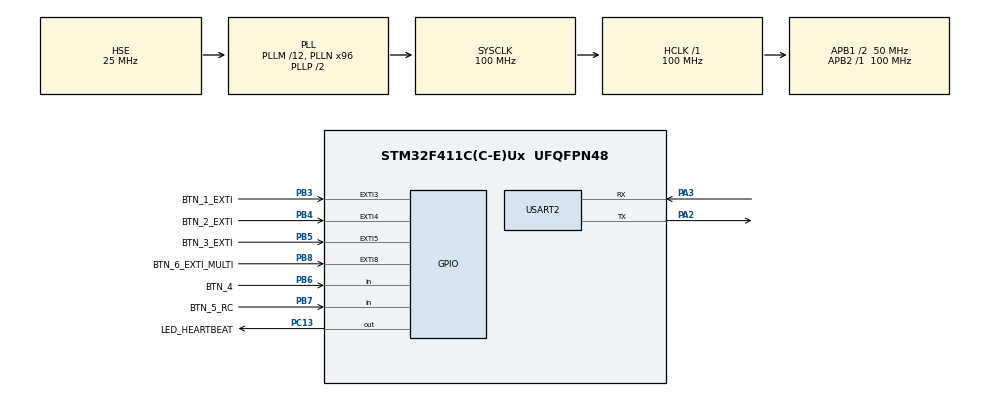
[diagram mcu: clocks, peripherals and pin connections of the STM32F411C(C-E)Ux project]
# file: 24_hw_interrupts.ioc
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Dma.Request0=USART2_TX
Dma.USART2_TX.0.Direction=DMA_MEMORY_TO_PERIPH
Dma.USART2_TX.0.FIFOMode=DMA_FIFOMODE_DISABLE
Dma.USART2_TX.0.Instance=DMA1_Stream6
Dma.USART2_TX.0.MemDataAlignment=DMA_MDATAALIGN_BYTE
Dma.USART2_TX.0.MemInc=DMA_MINC_ENABLE
Dma.USART2_TX.0.Mode=DMA_NORMAL
Dma.USART2_TX.0.PeriphDataAlignment=DMA_PDATAALIGN_BYTE
Dma.USART2_TX.0.PeriphInc=DMA_PINC_DISABLE
Dma.USART2_TX.0.Priority=DMA_PRIORITY_LOW
Mcu.Family=STM32F4
Mcu.Name=STM32F411C(C-E)Ux
Mcu.Package=UFQFPN48
NVIC.DMA1_Stream6_IRQn=true\:0\:0\:false\:false\:true\:false\:true\:true
NVIC.EXTI3_IRQn=true\:0\:0\:false\:false\:true\:true\:true\:true
NVIC.EXTI4_IRQn=true\:0\:0\:false\:false\:true\:true\:true\:true
NVIC.EXTI9_5_IRQn=true\:0\:0\:false\:false\:true\:true\:true\:true
NVIC.PriorityGroup=NVIC_PRIORITYGROUP_4
NVIC.TIM2_IRQn=true\:0\:0\:false\:false\:true\:true\:true\:true
NVIC.USART2_IRQn=true\:0\:0\:false\:false\:true\:true\:true\:true
PA13.Mode=Serial_Wire
PA13.Signal=SYS_JTMS-SWDIO
PA14.Mode=Serial_Wire
PA14.Signal=SYS_JTCK-SWCLK
PA2.Mode=Asynchronous
PA2.Signal=USART2_TX
PA3.Mode=Asynchronous
PA3.Signal=USART2_RX
PB3.GPIO_Label=BTN_1_EXTI
PB3.GPIO_ModeDefaultEXTI=GPIO_MODE_IT_FALLING
PB3.GPIO_PuPd=GPIO_PULLUP
PB3.Signal=GPXTI3
PB4.GPIO_Label=BTN_2_EXTI
PB4.GPIO_ModeDefaultEXTI=GPIO_MODE_IT_FALLING
PB4.GPIO_PuPd=GPIO_PULLUP
PB4.Signal=GPXTI4
PB5.GPIO_Label=BTN_3_EXTI
PB5.GPIO_ModeDefaultEXTI=GPIO_MODE_IT_FALLING
PB5.GPIO_PuPd=GPIO_PULLUP
PB5.Signal=GPXTI5
PB6.GPIO_Label=BTN_4
PB6.GPIO_PuPd=GPIO_PULLUP
PB6.Signal=GPIO_Input
PB7.GPIO_Label=BTN_5_RC
PB7.GPIO_PuPd=GPIO_PULLUP
PB7.Signal=GPIO_Input
PB8.GPIO_Label=BTN_6_EXTI_MULTI
PB8.GPIO_ModeDefaultEXTI=GPIO_MODE_IT_RISING_FALLING
PB8.GPIO_PuPd=GPIO_PULLUP
PB8.Signal=GPXTI8
PC13-ANTI_TAMP.GPIO_Label=LED_HEARTBEAT
PC13-ANTI_TAMP.Signal=GPIO_Output
PH0\ -\ OSC_IN.Mode=HSE-External-Oscillator
PH0\ -\ OSC_IN.Signal=RCC_OSC_IN
PH1\ -\ OSC_OUT.Mode=HSE-External-Oscillator
PH1\ -\ OSC_OUT.Signal=RCC_OSC_OUT
ProjectManager.HeapSize=0x200
ProjectManager.StackSize=0x400
ProjectManager.TargetToolchain=STM32CubeIDE
RCC.48MHZClocksFreq_Value=50000000
RCC.AHBFreq_Value=100000000
RCC.APB1CLKDivider=RCC_HCLK_DIV2
RCC.APB1Freq_Value=50000000
RCC.APB1TimFreq_Value=100000000
RCC.APB2Freq_Value=100000000
RCC.APB2TimFreq_Value=100000000
RCC.CortexFreq_Value=100000000
RCC.HCLKFreq_Value=100000000
RCC.HSE_VALUE=25000000
RCC.HSI_VALUE=16000000
RCC.LSE_VALUE=32768
RCC.PLLM=12
RCC.PLLN=96
RCC.PLLSourceVirtual=RCC_PLLSOURCE_HSE
RCC.SYSCLKFreq_VALUE=100000000
RCC.SYSCLKSource=RCC_SYSCLKSOURCE_PLLCLK
RCC.VCOOutputFreq_Value=200000000
TIM2.Period=4999
TIM2.Prescaler=999
USART2.VirtualMode=VM_ASYNC
VP_TIM2_VS_ClockSourceINT.Mode=Internal
board=custom

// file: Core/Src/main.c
/* USER CODE BEGIN Header */
/**
 ******************************************************************************
 * @file           : main.c
 * @brief          : Main program body
 ******************************************************************************
 * @attention
 *
 * Copyright (c) 2026 STMicroelectronics.
 * All rights reserved.
 *
 * This software is licensed under terms that can be found in the LICENSE file
 * in the root directory of this software component.
 * If no LICENSE file comes with this software, it is provided AS-IS.
 *
 ******************************************************************************
 */
/* USER CODE END Header */
#include "main.h"

/* USER CODE BEGIN Includes */
#include <stdarg.h>
#include <stdio.h>

/* USER CODE END Includes */

/* USER CODE BEGIN PTD */
typedef struct
{
    GPIO_TypeDef *port;
    uint16_t pin;
    uint32_t half_period;
    uint32_t last_update_timestamp;
} Led;

typedef enum
{
    BUTTON_EVENT_HANDLED = 0u,
    BUTTON_EVENT_PENDING,
    BUTTON_EVENT_SHORT_PENDING,
    BUTTON_EVENT_LONG_PENDING,
    BUTTON_EVENT_DOUBLE_PENDING,
} Button_Event;

typedef enum
{
    BUTTON_STATE_IDLE = 0u,
    BUTTON_STATE_PRESSED,
    BUTTON_STATE_HELD,
    BUTTON_STATE_RELEASED,
} Button_State;

typedef struct
{
    GPIO_TypeDef *port;
    uint16_t pin;
    uint32_t press_count;
    uint8_t raw;
    uint8_t stable;
    uint8_t in_debounce;
    Button_Event event;
    uint32_t last_read_timestamp;
    Button_State state;

    // btn_6 -- multiclick
    uint8_t is_double;
    uint32_t is_double_timestamp;
    uint32_t fall_timestamp;
    uint32_t rise_timestamp;
} Button;

/* USER CODE END PTD */

/* USER CODE BEGIN PD */
#define BUTTON_PRESS_DOUBLE_DURATION_MS 350u
#define BUTTON_PRESS_SHORT_DURATION_MS 1000u
#define BUTTON_PRESS_LONG_DURATION_MS 2000u
/* USER CODE END PD */

TIM_HandleTypeDef htim2;

UART_HandleTypeDef huart2;
DMA_HandleTypeDef hdma_usart2_tx;

/* USER CODE BEGIN PV */
static uint32_t now = 0u;

static Led heartbeat = {
	.port = LED_HEARTBEAT_GPIO_Port,
	.pin = LED_HEARTBEAT_Pin,
	.half_period = 1000u,
    .last_update_timestamp = 0u
};

// no debounce
static volatile Button btn_1_exti = {
	.port = BTN_1_EXTI_GPIO_Port,
	.pin = BTN_1_EXTI_Pin,
	.press_count = 0u
};

// 50ms debounce via timer
static volatile Button btn_2_exti = {
	.port = BTN_2_EXTI_GPIO_Port,
	.pin = BTN_2_EXTI_Pin,
	.in_debounce = 0u,
	.raw = 0u,
	.stable = 0u
};

// event/state based debounce
static volatile Button btn_3_exti = {
	.port = BTN_3_EXTI_GPIO_Port,
	.pin = BTN_3_EXTI_Pin,
	.press_count = 0u,
	.event = BUTTON_EVENT_HANDLED,
};

// polling + debounce
static Button btn_4 = {
	.port = BTN_4_GPIO_Port,
	.pin = BTN_4_Pin,
	.press_count = 0u,
	.last_read_timestamp = 0u,
	.raw = 0u,
	.state = BUTTON_STATE_IDLE,
};

static Button btn_5_rc = {
	.port = BTN_5_RC_GPIO_Port,
	.pin = BTN_5_RC_Pin,
	.press_count = 0u,
	.in_debounce = 0u,
	.raw = 0u,
}
;
static volatile Button btn_6_exti_multi = {
	.port = BTN_6_EXTI_MULTI_GPIO_Port,
	.pin = BTN_6_EXTI_MULTI_Pin,
	.in_debounce = 0u,
	.raw = 0u,
	.stable = 0u,
	.event = BUTTON_EVENT_HANDLED,
	.state = BUTTON_STATE_IDLE,
};

/* USER CODE END PV */

void SystemClock_Config(void);
static void MX_GPIO_Init(void);
static void MX_DMA_Init(void);
static void MX_TIM2_Init(void);
static void MX_USART2_UART_Init(void);

/* USER CODE BEGIN 0 */
void Log_Write(UART_HandleTypeDef *huart, const char *fmt, ...)
{
    assert_param(huart != NULL);
    assert_param(fmt != NULL);
    assert_param(strlen(fmt) < 256);

    uint32_t now = HAL_GetTick();
    char buffer[256] = { 0 };

    uint32_t pos = sprintf(buffer, "[%u] ", now);

    va_list args;
    va_start(args, fmt);
    pos += vsprintf(buffer + pos, fmt, args);
    va_end(args);

    buffer[pos++] = '\r';
    buffer[pos++] = '\n';
    buffer[pos++] = '\0';

    HAL_UART_Transmit(huart, (uint8_t *)buffer, pos, 100);
}

void Led_Heartbeat(const uint32_t now)
{
    if ((uint32_t)(now - heartbeat.last_update_timestamp) >= heartbeat.half_period)
    {
        HAL_GPIO_TogglePin(heartbeat.port, heartbeat.pin);
        heartbeat.last_update_timestamp = now;
    }
}

const char *Button_State_To_String(const Button_State state)
{
    switch (state)
    {
    case BUTTON_STATE_IDLE:
        return "BUTTON_STATE_IDLE";
    case BUTTON_STATE_PRESSED:
        return "BUTTON_STATE_PRESSED";
    case BUTTON_STATE_HELD:
        return "BUTTON_STATE_HELD";
    case BUTTON_STATE_RELEASED:
        return "BUTTON_STATE_RELEASED";
    default:
        return "Non existent state";
    }
}

const char *Button_Event_To_String(const Button_Event event)
{
    switch (event)
    {
    case BUTTON_EVENT_HANDLED:
        return "BUTTON_EVENT_HANDLED";
    case BUTTON_EVENT_PENDING:
        return "BUTTON_EVENT_PENDING";
    case BUTTON_EVENT_SHORT_PENDING:
        return "BUTTON_EVENT_SHORT_PENDING";
    case BUTTON_EVENT_LONG_PENDING:
        return "BUTTON_EVENT_LONG_PENDING";
    case BUTTON_EVENT_DOUBLE_PENDING:
        return "BUTTON_EVENT_DOUBLE_PENDING";
    default:
        return "Non existent event";
    }
}

void Button_3_Process_Event(volatile Button *btn)
{
    if (btn->event == BUTTON_EVENT_PENDING)
    {
        btn->press_count++;
        btn->event = BUTTON_EVENT_HANDLED;
    }
}

void HAL_GPIO_EXTI_Callback(uint16_t GPIO_Pin)
{
    switch (GPIO_Pin)
    {
    case BTN_1_EXTI_Pin:
        // do nothing
        btn_1_exti.press_count++;
        break;
    case BTN_2_EXTI_Pin:
        btn_2_exti.raw = (HAL_GPIO_ReadPin(btn_2_exti.port, btn_2_exti.pin) == GPIO_PIN_RESET);
        btn_2_exti.in_debounce = 1u;
        break;
    case BTN_3_EXTI_Pin:
        if (btn_3_exti.event == BUTTON_EVENT_HANDLED)
        {
            btn_3_exti.event = BUTTON_EVENT_PENDING;
        }
        break;
    case BTN_6_EXTI_MULTI_Pin:
        btn_6_exti_multi.raw = (HAL_GPIO_ReadPin(btn_6_exti_multi.port, btn_6_exti_multi.pin) == GPIO_PIN_RESET);
        btn_6_exti_multi.in_debounce = 1u;
        break;
    }
}

static void Button_Timer_Debounce(volatile Button *btn)
{
    const uint8_t raw = (HAL_GPIO_ReadPin(btn->port, btn->pin) == GPIO_PIN_RESET);
    if ((btn->in_debounce == 1u) && (raw == btn->raw))
    {
        btn->stable = raw;
        btn->press_count++;
    }
    btn->in_debounce = 0u;
}

void HAL_TIM_PeriodElapsedCallback(TIM_HandleTypeDef *htim)
{
    if (htim->Instance == TIM2)
    {
        Button_Timer_Debounce(&btn_2_exti);
        Button_Timer_Debounce(&btn_6_exti_multi);
    }
}

void Button_6_EXTI_Multi_Handle(volatile Button *btn, const uint32_t now)
{
    if (btn->event != BUTTON_EVENT_HANDLED)
        return;

    switch (btn->state)
    {
    case BUTTON_STATE_IDLE:
        if (btn->stable == 1u)
        {
            btn->state = BUTTON_STATE_PRESSED;
            btn->fall_timestamp = now;
        }

        // short button event is deferred in case of double click
        if (btn->is_double == 1u)
        {
            if ((uint32_t)(now - btn->is_double_timestamp) >= BUTTON_PRESS_DOUBLE_DURATION_MS)
            {
                btn->event = BUTTON_EVENT_SHORT_PENDING;
                btn->is_double = 0u;
            }
        }
        break;
    case BUTTON_STATE_PRESSED:
    case BUTTON_STATE_HELD:
        if (btn->stable == 1u)
        {
            btn->state = BUTTON_STATE_HELD;
        }
        else
        {
            btn->state = BUTTON_STATE_RELEASED;
        }
        break;
    case BUTTON_STATE_RELEASED:
        btn->state = BUTTON_STATE_IDLE;
        btn->rise_timestamp = now;

        const uint32_t time_diff = (uint32_t)(btn->rise_timestamp - btn->fall_timestamp);
        if (time_diff <= BUTTON_PRESS_SHORT_DURATION_MS)
        {
            if (btn->is_double == 1u)
            {
                btn->event = BUTTON_EVENT_DOUBLE_PENDING;
                btn->is_double = 0u;
            }
            else
            {
                btn->is_double = 1u;
                btn->is_double_timestamp = now;
            }
        }
        else if (time_diff > BUTTON_PRESS_SHORT_DURATION_MS)
        {
            btn->event = BUTTON_EVENT_LONG_PENDING;
        }
        break;
    default:
        break;
    }
}

void Button_4_sm_debouce(Button *btn, const uint32_t now)
{
    if ((uint32_t)(now - btn->last_read_timestamp) >= 10u)
    {
        btn->last_read_timestamp = now;
        btn->raw = (HAL_GPIO_ReadPin(btn->port, btn->pin) == GPIO_PIN_RESET);
        switch (btn->state)
        {
        case BUTTON_STATE_IDLE:
            if (btn->raw == 1u)
            {
                btn->state = BUTTON_STATE_PRESSED;
            }
            break;
        case BUTTON_STATE_PRESSED:
            if (btn->raw == 1u)
            {
                btn->press_count++;
            }
        case BUTTON_STATE_HELD:
            if (btn->raw == 1u)
            {
                btn->state = BUTTON_STATE_HELD;
            }
            else
            {
                btn->state = BUTTON_STATE_IDLE;
            }
            break;
        default:
            break;
        }
    }
}

void Button_5_RC_Read(Button *btn)
{
    btn->raw = (HAL_GPIO_ReadPin(btn->port, btn->pin) == GPIO_PIN_RESET);
    if (btn->raw == 1u)
    {
        if (btn->in_debounce == 0u)
        {
            btn->press_count++;
            btn->in_debounce = 1u;
        }
    }
    else
    {
        btn->in_debounce = 0u;
    }
}

/* USER CODE END 0 */

int main(void)
{

    /* MCU Configuration--------------------------------------------------------*/

    /* Reset of all peripherals, Initializes the Flash interface and the Systick. */
    HAL_Init();

    /* Configure the system clock */
    SystemClock_Config();

    /* Initialize all configured peripherals */
    MX_GPIO_Init();
    MX_DMA_Init();
    MX_TIM2_Init();
    MX_USART2_UART_Init();
    /* USER CODE BEGIN 2 */
    uint32_t last_update = 0u;

    HAL_TIM_Base_Start_IT(&htim2);

    Log_Write(&huart2, "Board started...");
    /* USER CODE END 2 */

    /* Infinite loop */
    /* USER CODE BEGIN WHILE */
    while (1)
    {
        now = HAL_GetTick();
        Led_Heartbeat(now);

        Button_3_Process_Event(&btn_3_exti);
        Button_4_sm_debouce(&btn_4, now);
        Button_5_RC_Read(&btn_5_rc);
        Button_6_EXTI_Multi_Handle(&btn_6_exti_multi, now);

        switch (btn_6_exti_multi.event)
        {
        case BUTTON_EVENT_SHORT_PENDING:
            Log_Write(&huart2,
                      ">>>btn_6_exti_multi: short | press duration: %u | rise: %u | fall: %u\r\n\t"
                      "state: %s | event: %s\r\n",
                      (uint32_t) (btn_6_exti_multi.rise_timestamp - btn_6_exti_multi.fall_timestamp),
                      btn_6_exti_multi.rise_timestamp, btn_6_exti_multi.fall_timestamp,
                      Button_State_To_String(btn_6_exti_multi.state), Button_Event_To_String(btn_6_exti_multi.event));
            btn_6_exti_multi.event = BUTTON_EVENT_HANDLED;
            break;
        case BUTTON_EVENT_LONG_PENDING:
            Log_Write(&huart2,
                      ">>>btn_6_exti_multi: long | press duration: %u | rise: %u | fall: %u\r\n\t"
                      "state: %s | event: %s\r\n",
                      (uint32_t) (btn_6_exti_multi.rise_timestamp - btn_6_exti_multi.fall_timestamp),
                      btn_6_exti_multi.rise_timestamp, btn_6_exti_multi.fall_timestamp,
                      Button_State_To_String(btn_6_exti_multi.state), Button_Event_To_String(btn_6_exti_multi.event));
            btn_6_exti_multi.event = BUTTON_EVENT_HANDLED;
            break;
        case BUTTON_EVENT_DOUBLE_PENDING:
            Log_Write(&huart2,
                      ">>>btn_6_exti_multi: double | press duration: %u | rise: %u | fall: %u\r\n\t"
                      "state: %s | event: %s\r\n",
                      (uint32_t) (btn_6_exti_multi.rise_timestamp - btn_6_exti_multi.fall_timestamp),
                      btn_6_exti_multi.rise_timestamp, btn_6_exti_multi.fall_timestamp,
                      Button_State_To_String(btn_6_exti_multi.state), Button_Event_To_String(btn_6_exti_multi.event));
            btn_6_exti_multi.event = BUTTON_EVENT_HANDLED;
            break;
        case BUTTON_EVENT_PENDING:
        case BUTTON_EVENT_HANDLED:
            break;
        }

        if ((uint32_t) (now - last_update) >= 1000u)
        {
            last_update = now;
            Log_Write(&huart2, "btn_1_exti: raw: %u | stable: %u | in_debounce: %u | press_count: %u",
                      btn_1_exti.raw, btn_1_exti.stable, btn_1_exti.in_debounce, btn_1_exti.press_count);
            Log_Write(&huart2, "btn_2_exti: raw: %u | stable: %u | in_debounce: %u | press_count: %u",
                      btn_2_exti.raw, btn_2_exti.stable, btn_2_exti.in_debounce, btn_2_exti.press_count);
            Log_Write(&huart2, "btn_3_exti: raw: %u | stable: %u | in_debounce: %u | press_count: %u",
                      btn_3_exti.raw, btn_3_exti.stable, btn_3_exti.in_debounce, btn_3_exti.press_count);
            Log_Write(&huart2, "btn_4: raw: %u | stable: %u | in_debounce: %u | press_count: %u",
                      btn_4.raw, btn_4.stable, btn_4.in_debounce, btn_4.press_count);
            Log_Write(&huart2, "btn_5_rc: raw: %u | stable: %u | in_debounce: %u | press_count: %u\r\n",
                      btn_5_rc.raw, btn_5_rc.stable, btn_5_rc.in_debounce, btn_5_rc.press_count);
        }
        /* USER CODE END WHILE */

    }
}

void SystemClock_Config(void)
{
    RCC_OscInitTypeDef RCC_OscInitStruct = { 0 };
    RCC_ClkInitTypeDef RCC_ClkInitStruct = { 0 };

    /** Configure the main internal regulator output voltage
     */
    __HAL_RCC_PWR_CLK_ENABLE();
    __HAL_PWR_VOLTAGESCALING_CONFIG(PWR_REGULATOR_VOLTAGE_SCALE1);

    /** Initializes the RCC Oscillators according to the specified parameters
     * in the RCC_OscInitTypeDef structure.
     */
    RCC_OscInitStruct.OscillatorType = RCC_OSCILLATORTYPE_HSE;
    RCC_OscInitStruct.HSEState = RCC_HSE_ON;
    RCC_OscInitStruct.PLL.PLLState = RCC_PLL_ON;
    RCC_OscInitStruct.PLL.PLLSource = RCC_PLLSOURCE_HSE;
    RCC_OscInitStruct.PLL.PLLM = 12;
    RCC_OscInitStruct.PLL.PLLN = 96;
    RCC_OscInitStruct.PLL.PLLP = RCC_PLLP_DIV2;
    RCC_OscInitStruct.PLL.PLLQ = 4;
    if (HAL_RCC_OscConfig(&RCC_OscInitStruct) != HAL_OK)
    {
        Error_Handler();
    }

    /** Initializes the CPU, AHB and APB buses clocks
     */
    RCC_ClkInitStruct.ClockType = RCC_CLOCKTYPE_HCLK | RCC_CLOCKTYPE_SYSCLK | RCC_CLOCKTYPE_PCLK1 | RCC_CLOCKTYPE_PCLK2;
    RCC_ClkInitStruct.SYSCLKSource = RCC_SYSCLKSOURCE_PLLCLK;
    RCC_ClkInitStruct.AHBCLKDivider = RCC_SYSCLK_DIV1;
    RCC_ClkInitStruct.APB1CLKDivider = RCC_HCLK_DIV2;
    RCC_ClkInitStruct.APB2CLKDivider = RCC_HCLK_DIV1;

    if (HAL_RCC_ClockConfig(&RCC_ClkInitStruct, FLASH_LATENCY_3) != HAL_OK)
    {
        Error_Handler();
    }
}

static void MX_TIM2_Init(void)
{

    TIM_ClockConfigTypeDef sClockSourceConfig = { 0 };
    TIM_MasterConfigTypeDef sMasterConfig = { 0 };

    htim2.Instance = TIM2;
    htim2.Init.Prescaler = 999;
    htim2.Init.CounterMode = TIM_COUNTERMODE_UP;
    htim2.Init.Period = 4999;
    htim2.Init.ClockDivision = TIM_CLOCKDIVISION_DIV1;
    htim2.Init.AutoReloadPreload = TIM_AUTORELOAD_PRELOAD_DISABLE;
    if (HAL_TIM_Base_Init(&htim2) != HAL_OK)
    {
        Error_Handler();
    }
    sClockSourceConfig.ClockSource = TIM_CLOCKSOURCE_INTERNAL;
    if (HAL_TIM_ConfigClockSource(&htim2, &sClockSourceConfig) != HAL_OK)
    {
        Error_Handler();
    }
    sMasterConfig.MasterOutputTrigger = TIM_TRGO_RESET;
    sMasterConfig.MasterSlaveMode = TIM_MASTERSLAVEMODE_DISABLE;
    if (HAL_TIMEx_MasterConfigSynchronization(&htim2, &sMasterConfig) != HAL_OK)
    {
        Error_Handler();
    }

}

static void MX_USART2_UART_Init(void)
{

    huart2.Instance = USART2;
    huart2.Init.BaudRate = 115200;
    huart2.Init.WordLength = UART_WORDLENGTH_8B;
    huart2.Init.StopBits = UART_STOPBITS_1;
    huart2.Init.Parity = UART_PARITY_NONE;
    huart2.Init.Mode = UART_MODE_TX_RX;
    huart2.Init.HwFlowCtl = UART_HWCONTROL_NONE;
    huart2.Init.OverSampling = UART_OVERSAMPLING_16;
    if (HAL_UART_Init(&huart2) != HAL_OK)
    {
        Error_Handler();
    }

}

static void MX_DMA_Init(void)
{

    /* DMA controller clock enable */
    __HAL_RCC_DMA1_CLK_ENABLE();

    /* DMA interrupt init */
    /* DMA1_Stream6_IRQn interrupt configuration */
    HAL_NVIC_SetPriority(DMA1_Stream6_IRQn, 0, 0);
    HAL_NVIC_EnableIRQ(DMA1_Stream6_IRQn);

}

static void MX_GPIO_Init(void)
{
    GPIO_InitTypeDef GPIO_InitStruct = { 0 };

    /* GPIO Ports Clock Enable */
    __HAL_RCC_GPIOC_CLK_ENABLE();
    __HAL_RCC_GPIOH_CLK_ENABLE();
    __HAL_RCC_GPIOA_CLK_ENABLE();
    __HAL_RCC_GPIOB_CLK_ENABLE();

    /*Configure GPIO pin Output Level */
    HAL_GPIO_WritePin(LED_HEARTBEAT_GPIO_Port, LED_HEARTBEAT_Pin, GPIO_PIN_RESET);

    /*Configure GPIO pin : LED_HEARTBEAT_Pin */
    GPIO_InitStruct.Pin = LED_HEARTBEAT_Pin;
    GPIO_InitStruct.Mode = GPIO_MODE_OUTPUT_PP;
    GPIO_InitStruct.Pull = GPIO_NOPULL;
    GPIO_InitStruct.Speed = GPIO_SPEED_FREQ_LOW;
    HAL_GPIO_Init(LED_HEARTBEAT_GPIO_Port, &GPIO_InitStruct);

    /*Configure GPIO pins : BTN_1_EXTI_Pin BTN_2_EXTI_Pin BTN_3_EXTI_Pin */
    GPIO_InitStruct.Pin = BTN_1_EXTI_Pin | BTN_2_EXTI_Pin | BTN_3_EXTI_Pin;
    GPIO_InitStruct.Mode = GPIO_MODE_IT_FALLING;
    GPIO_InitStruct.Pull = GPIO_PULLUP;
    HAL_GPIO_Init(GPIOB, &GPIO_InitStruct);

    /*Configure GPIO pins : BTN_4_Pin BTN_5_RC_Pin */
    GPIO_InitStruct.Pin = BTN_4_Pin | BTN_5_RC_Pin;
    GPIO_InitStruct.Mode = GPIO_MODE_INPUT;
    GPIO_InitStruct.Pull = GPIO_PULLUP;
    HAL_GPIO_Init(GPIOB, &GPIO_InitStruct);

    /*Configure GPIO pin : BTN_6_EXTI_MULTI_Pin */
    GPIO_InitStruct.Pin = BTN_6_EXTI_MULTI_Pin;
    GPIO_InitStruct.Mode = GPIO_MODE_IT_RISING_FALLING;
    GPIO_InitStruct.Pull = GPIO_PULLUP;
    HAL_GPIO_Init(BTN_6_EXTI_MULTI_GPIO_Port, &GPIO_InitStruct);

    /* EXTI interrupt init*/
    HAL_NVIC_SetPriority(EXTI3_IRQn, 0, 0);
    HAL_NVIC_EnableIRQ(EXTI3_IRQn);

    HAL_NVIC_SetPriority(EXTI4_IRQn, 0, 0);
    HAL_NVIC_EnableIRQ(EXTI4_IRQn);

    HAL_NVIC_SetPriority(EXTI9_5_IRQn, 0, 0);
    HAL_NVIC_EnableIRQ(EXTI9_5_IRQn);

}

void Error_Handler(void)
{
    __disable_irq();
    while (1)
    {
    }
}
#ifdef USE_FULL_ASSERT
/**
  * @brief  Reports the name of the source file and the source line number
  *         where the assert_param error has occurred.
  * @param  file: pointer to the source file name
  * @param  line: assert_param error line source number
  * @retval None
  */
void assert_failed(uint8_t *file, uint32_t line)
{
  /* USER CODE BEGIN 6 */
  /* User can add his own implementation to report the file name and line number,
     printf("Wrong parameters value: file %s on line %d\r\n", file, line) */
  /* USER CODE END 6 */
}
#endif /* USE_FULL_ASSERT */
